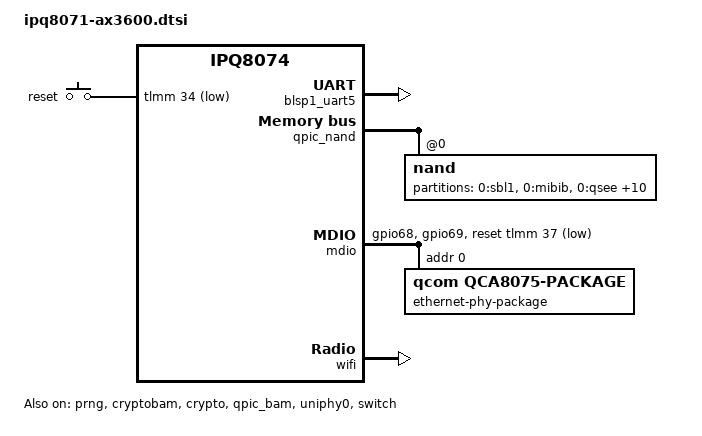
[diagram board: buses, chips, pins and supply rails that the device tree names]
// SPDX-License-Identifier: GPL-2.0-or-later OR MIT
/* Copyright (c) 2021, Robert Marko <robimarko@gmail.com> */

#include "ipq8074-512m.dtsi"
#include "ipq8074-ac-cpu.dtsi"
#include "ipq8074-ess.dtsi"
#include <dt-bindings/gpio/gpio.h>
#include <dt-bindings/input/input.h>

/ {
	aliases {
		serial0 = &blsp1_uart5;
		led-boot = &led_system_yellow;
		led-failsafe = &led_system_yellow;
		led-running = &led_system_blue;
		led-upgrade = &led_system_yellow;
		label-mac-device = &swport2;
	};

	chosen {
		stdout-path = "serial0:115200n8";
		bootargs-append = " root=/dev/ubiblock0_0";
	};

	keys {
		compatible = "gpio-keys";

		reset {
			label = "reset";
			gpios = <&tlmm 34 GPIO_ACTIVE_LOW>;
			linux,code = <KEY_RESTART>;
		};
	};
};

&tlmm {
	mdio_pins: mdio-pins {
		mdc {
			pins = "gpio68";
			function = "mdc";
			drive-strength = <8>;
			bias-pull-up;
		};

		mdio {
			pins = "gpio69";
			function = "mdio";
			drive-strength = <8>;
			bias-pull-up;
		};
	};
};

&blsp1_uart5 {
	status = "okay";
};

&prng {
	status = "okay";
};

&cryptobam {
	status = "okay";
};

&crypto {
	status = "okay";
};

&qpic_bam {
	status = "okay";
};

&qpic_nand {
	status = "okay";

	/*
	 * Bootloader will find the NAND DT node by the compatible and
	 * then "fixup" it by adding the partitions from the SMEM table
	 * using the legacy bindings thus making it impossible for us
	 * to change the partition table or utilize NVMEM for calibration.
	 * So add a dummy partitions node that bootloader will populate
	 * and set it as disabled so the kernel ignores it instead of
	 * printing warnings due to the broken way bootloader adds the
	 * partitions.
	 */
	partitions {
		status = "disabled";
	};

	nand@0 {
		reg = <0>;
		nand-ecc-strength = <4>;
		nand-ecc-step-size = <512>;
		nand-bus-width = <8>;

		partitions {
			compatible = "fixed-partitions";
			#address-cells = <1>;
			#size-cells = <1>;

			partition@0 {
				label = "0:sbl1";
				reg = <0x0 0x100000>;
				read-only;
			};

			partition@100000 {
				label = "0:mibib";
				reg = <0x100000 0x100000>;
				read-only;
			};

			partition@200000 {
				label = "0:qsee";
				reg = <0x200000 0x300000>;
				read-only;
			};

			partition@500000 {
				label = "0:devcfg";
				reg = <0x500000 0x80000>;
				read-only;
			};

			partition@580000 {
				label = "0:rpm";
				reg = <0x580000 0x80000>;
				read-only;
			};

			partition@600000 {
				label = "0:cdt";
				reg = <0x600000 0x80000>;
				read-only;
			};

			partition@680000 {
				label = "0:appsblenv";
				reg = <0x680000 0x80000>;
			};

			partition@700000 {
				label = "0:appsbl";
				reg = <0x700000 0x100000>;
				read-only;
			};

			partition@800000 {
				label = "0:art";
				reg = <0x800000 0x80000>;
				read-only;

				nvmem-layout {
					compatible = "fixed-layout";
					#address-cells = <1>;
					#size-cells = <1>;

					macaddr_dp2: macaddr@6 {
						reg = <0x6 0x6>;
					};

					macaddr_dp3: macaddr@c {
						reg = <0xc 0x6>;
					};

					macaddr_dp4: macaddr@12 {
						reg = <0x12 0x6>;
					};

					macaddr_dp5: macaddr@18 {
						reg = <0x18 0x6>;
					};

					caldata_qca9889: caldata@4d000 {
						reg = <0x33000 0x844>;
					};
				};
			};

			partition@880000 {
				label = "bdata";
				reg = <0x880000 0x80000>;
			};

			partition@900000 {
				/* This is crash + crash_syslog parts combined */
				label = "pstore";
				reg = <0x900000 0x100000>;
			};

			/* Make the first rootfs a dedicated ubi partition for kernel */
			partition@a00000 {
				label = "ubi_kernel";
				reg = <0xa00000 0x23c0000>;
			};

			/* Place the real rootfs in the original second rootfs and
			 * expand it to the end of the nand
			 */
			rootfs: partition@2dc0000 {
				label = "rootfs";
				reg = <0x2dc0000 0xd240000>;
			};
		};
	};
};

&mdio {
	status = "okay";

	pinctrl-0 = <&mdio_pins>;
	pinctrl-names = "default";
	reset-gpios = <&tlmm 37 GPIO_ACTIVE_LOW>;

	ethernet-phy-package@0 {
		#address-cells = <1>;
		#size-cells = <0>;
		compatible = "qcom,qca8075-package";
		reg = <0>;

		qca8075_1: ethernet-phy@1 {
			compatible = "ethernet-phy-ieee802.3-c22";
			reg = <1>;
		};

		qca8075_2: ethernet-phy@2 {
			compatible = "ethernet-phy-ieee802.3-c22";
			reg = <2>;
		};

		qca8075_3: ethernet-phy@3 {
			compatible = "ethernet-phy-ieee802.3-c22";
			reg = <3>;
		};

		qca8075_4: ethernet-phy@4 {
			compatible = "ethernet-phy-ieee802.3-c22";
			reg = <4>;
		};
	};
};

&uniphy0 {
	status = "okay";
};

&switch {
	status = "okay";

	ports {
		#address-cells = <1>;
		#size-cells = <0>;

		port@0 {
			reg = <0>;
			ethernet = <&edma>;
			phy-mode = "internal";

			fixed-link {
				speed = <1000>;
				full-duplex;
			};
		};

		swport2: port@2 {
			reg = <2>;
			label = "wan";
			phy-handle = <&qca8075_1>;
			phy-mode = "psgmii";
			pcs-handle = <&uniphy0 1>;
			nvmem-cells = <&macaddr_dp2>;
			nvmem-cell-names = "mac-address";
		};

		swport3: port@3 {
			reg = <3>;
			label = "lan1";
			phy-handle = <&qca8075_2>;
			phy-mode = "psgmii";
			pcs-handle = <&uniphy0 2>;
			nvmem-cells = <&macaddr_dp3>;
			nvmem-cell-names = "mac-address";
		};

		swport4: port@4 {
			reg = <4>;
			label = "lan2";
			phy-handle = <&qca8075_3>;
			phy-mode = "psgmii";
			pcs-handle = <&uniphy0 3>;
			nvmem-cells = <&macaddr_dp4>;
			nvmem-cell-names = "mac-address";
		};

		swport5: port@5 {
			reg = <5>;
			label = "lan3";
			phy-handle = <&qca8075_4>;
			phy-mode = "psgmii";
			pcs-handle = <&uniphy0 4>;
			nvmem-cells = <&macaddr_dp5>;
			nvmem-cell-names = "mac-address";
		};
	};
};

&edma {
	status = "okay";
};

&wifi {
	status = "okay";

	qcom,ath11k-fw-memory-mode = <1>;
};
